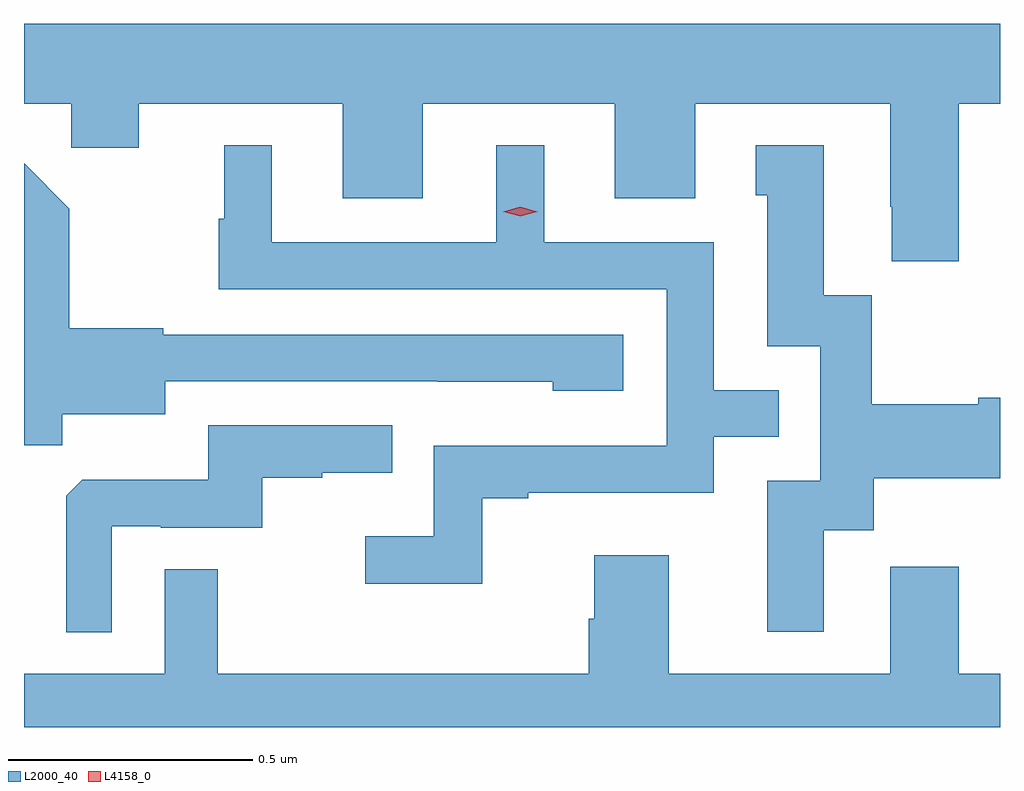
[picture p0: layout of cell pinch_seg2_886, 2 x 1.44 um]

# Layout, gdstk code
import gdstk
lib = gdstk.Library(unit=1e-6, precision=1e-09)
def P(c, l, *ps):  # polygons
    for p in ps: c.add(gdstk.Polygon(p, *l))
L2000_40 = (2000, 40)
L4158_0 = (4158, 0)

pinch_seg2_886 = lib.new_cell('pinch_seg2_886')
P(pinch_seg2_886, L2000_40, [(592.711,618.332),(592.796,618.332),(592.796,618.496),(590.796,618.496),(590.796,618.332),(590.893,618.332),(590.893,618.242),(591.031,618.242),(591.031,618.332),(591.449,618.332),(591.449,618.138),(591.613,618.138),(591.613,618.332),(592.007,618.332),(592.007,618.138),(592.171,618.138),(592.171,618.332),(592.571,618.332),(592.571,618.121),(592.574,618.121),(592.574,618.009),(592.711,618.009)],
  [(592.435,617.458),(592.537,617.458),(592.537,617.564),(592.796,617.564),(592.796,617.729),(592.751,617.729),(592.751,617.716),(592.533,617.716),(592.533,617.939),(592.435,617.939),(592.435,618.247),(592.295,618.247),(592.295,618.144),(592.319,618.144),(592.319,617.835),(592.428,617.835),(592.428,617.559),(592.319,617.559),(592.319,617.25),(592.435,617.25)],
  [(591.735,617.523),(591.829,617.523),(591.829,617.535),(592.209,617.535),(592.209,617.649),(592.343,617.649),(592.343,617.745),(592.209,617.745),(592.209,618.048),(591.862,618.048),(591.862,618.247),(591.764,618.247),(591.764,618.048),(591.304,618.048),(591.304,618.247),(591.206,618.247),(591.206,618.096),(591.195,618.096),(591.195,617.952),(592.113,617.952),(592.113,617.631),(591.636,617.631),(591.636,617.446),(591.495,617.446),(591.495,617.348),(591.735,617.348)],
  [(590.874,617.696),(591.085,617.696),(591.085,617.763),(591.643,617.763),(591.643,617.762),(591.879,617.762),(591.879,617.744),(592.024,617.744),(592.024,617.859),(591.081,617.859),(591.081,617.872),(590.889,617.872),(590.889,618.117),(590.796,618.21),(590.796,617.632),(590.874,617.632)],
  [(590.976,617.466),(591.076,617.466),(591.076,617.463),(591.284,617.463),(591.284,617.565),(591.407,617.565),(591.407,617.576),(591.551,617.576),(591.551,617.673),(591.174,617.673),(591.174,617.561),(590.915,617.561),(590.883,617.529),(590.883,617.249),(590.976,617.249)],
  [(592.796,617.164),(592.711,617.164),(592.711,617.383),(592.571,617.383),(592.571,617.164),(592.117,617.164),(592.117,617.407),(591.965,617.407),(591.965,617.277),(591.953,617.277),(591.953,617.164),(591.193,617.164),(591.193,617.378),(591.084,617.378),(591.084,617.164),(590.796,617.164),(590.796,617.054),(592.796,617.054)])
P(pinch_seg2_886, L4158_0, [(591.813,618.101),(591.778,618.111),(591.777,618.111),(591.778,618.111),(591.813,618.121),(591.848,618.111),(591.849,618.111),(591.848,618.111)])

lib.write_gds('pinch_seg2_886.gds')
